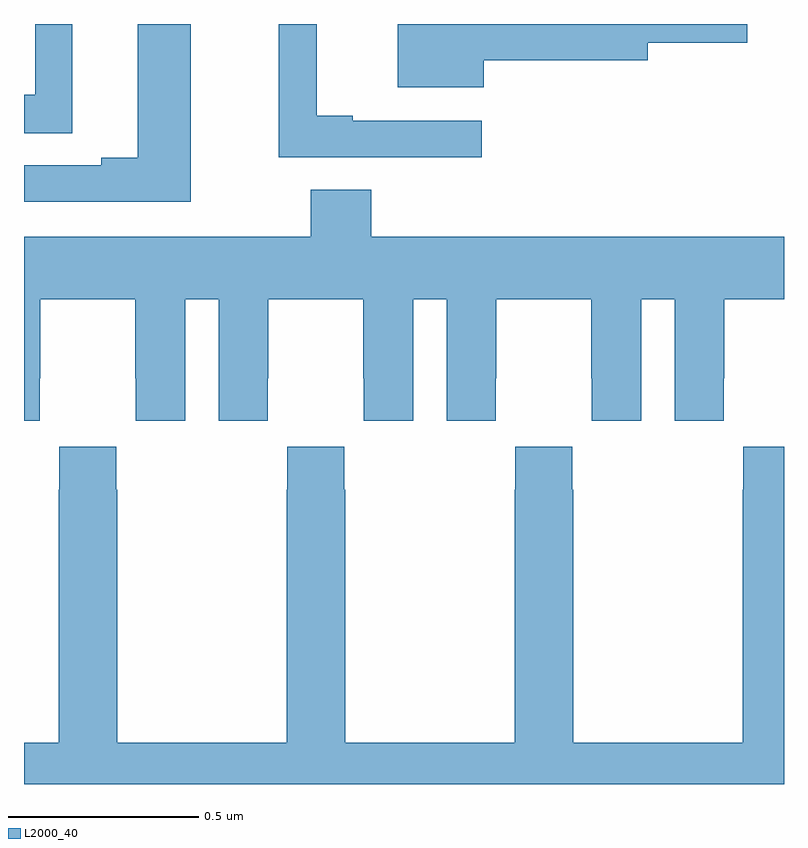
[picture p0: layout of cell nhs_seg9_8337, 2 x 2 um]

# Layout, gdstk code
import gdstk
lib = gdstk.Library(unit=1e-6, precision=1e-09)
def P(c, l, *ps):  # polygons
    for p in ps: c.add(gdstk.Polygon(p, *l))
L2000_40 = (2000, 40)

nhs_seg9_8337 = lib.new_cell('nhs_seg9_8337')
P(nhs_seg9_8337, L2000_40, [(217.21,1174.404),(217.642,1174.404),(217.642,1174.451),(217.903,1174.451),(217.903,1174.5),(216.983,1174.5),(216.983,1174.334),(217.21,1174.334)],
  [(216.127,1174.5),(216.03,1174.5),(216.03,1174.314),(216,1174.314),(216,1174.213),(216.127,1174.213)],
  [(217.204,1174.245),(216.865,1174.245),(216.865,1174.258),(216.77,1174.258),(216.77,1174.5),(216.67,1174.5),(216.67,1174.149),(217.204,1174.149)],
  [(216.439,1174.5),(216.299,1174.5),(216.299,1174.148),(216.203,1174.148),(216.203,1174.128),(216,1174.128),(216,1174.032),(216.439,1174.032)],
  [(216.042,1173.568),(216.043,1173.568),(216.043,1173.776),(216.293,1173.776),(216.293,1173.568),(216.294,1173.568),(216.294,1173.456),(216.424,1173.456),(216.424,1173.776),(216.512,1173.776),(216.512,1173.456),(216.642,1173.456),(216.642,1173.568),(216.643,1173.568),(216.643,1173.776),(216.893,1173.776),(216.893,1173.568),(216.894,1173.568),(216.894,1173.456),(217.024,1173.456),(217.024,1173.776),(217.112,1173.776),(217.112,1173.456),(217.242,1173.456),(217.242,1173.568),(217.243,1173.568),(217.243,1173.776),(217.493,1173.776),(217.493,1173.568),(217.494,1173.568),(217.494,1173.456),(217.624,1173.456),(217.624,1173.776),(217.712,1173.776),(217.712,1173.456),(217.842,1173.456),(217.842,1173.568),(217.843,1173.568),(217.843,1173.776),(218,1173.776),(218,1173.94),(216.914,1173.94),(216.914,1174.064),(216.754,1174.064),(216.754,1173.94),(216,1173.94),(216,1173.456),(216.042,1173.456)],
  [(218,1173.388),(217.893,1173.388),(217.893,1173.275),(217.891,1173.275),(217.891,1172.608),(217.446,1172.608),(217.446,1173.275),(217.443,1173.275),(217.443,1173.388),(217.293,1173.388),(217.293,1173.275),(217.291,1173.275),(217.291,1172.608),(216.846,1172.608),(216.846,1173.275),(216.843,1173.275),(216.843,1173.388),(216.693,1173.388),(216.693,1173.275),(216.691,1173.275),(216.691,1172.608),(216.246,1172.608),(216.246,1173.275),(216.243,1173.275),(216.243,1173.388),(216.093,1173.388),(216.093,1173.275),(216.091,1173.275),(216.091,1172.608),(216,1172.608),(216,1172.5),(218,1172.5)])

lib.write_gds('nhs_seg9_8337.gds')
